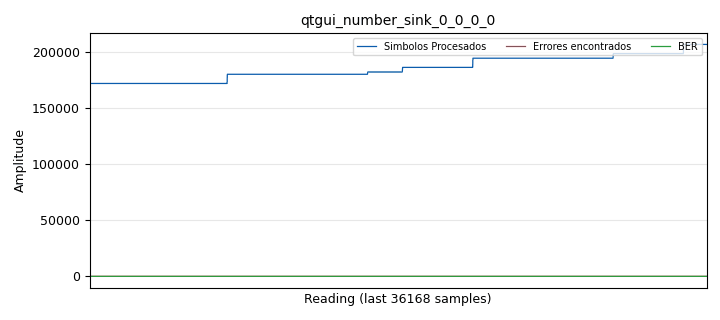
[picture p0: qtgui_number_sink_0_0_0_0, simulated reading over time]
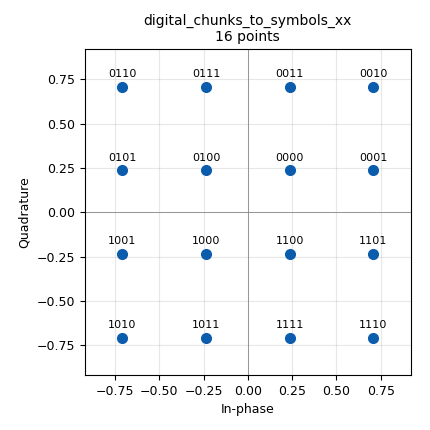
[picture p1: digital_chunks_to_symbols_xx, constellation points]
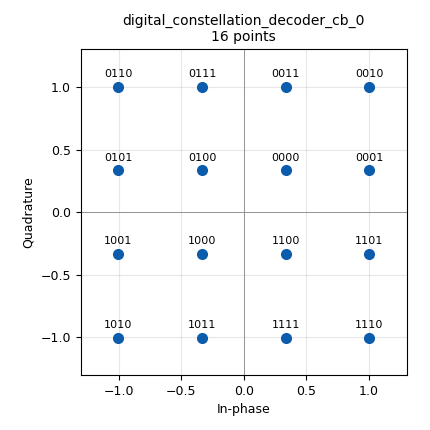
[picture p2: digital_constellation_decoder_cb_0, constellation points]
options:
  parameters:
    author: Homero Ortega Boada
    category: Custom
    description: dale un valor a Eb/No, corre el flujograma y obten la SER. Puedes sacar tantos valores como para construir una curva de SER
    generate_options: qt_gui
    id: ser_simulation
    output_language: python
    run: run_stop
    title: SER Simulation
  states: {}

blocks:
- name: Bps
  id: variable
  parameters:
    value: int(math.log(M,2))
  states: {}
- name: EbN0
  id: variable
  parameters:
    value: '28'
  states: {}
- name: M
  id: variable
  parameters:
    value: int(len(const))
  states: {}
- name: MaxCount
  id: variable
  parameters:
    value: int(1e7)
  states: {}
- name: MaxErrors
  id: variable
  parameters:
    value: 1e3
  states: {}
- name: MiconstellationObject
  id: variable_constellation
  parameters:
    const_points: const
    dims: '1'
    normalization: digital.constellation.AMPLITUDE_NORMALIZATION
    precision: '8'
    rot_sym: '4'
    sym_map: mapa
    type: calcdist
  states: {}
- name: Rb
  id: variable
  parameters:
    value: Rs*Bps
  states: {state: disabled}
- name: Rs
  id: variable
  parameters:
    value: samp_rate/Sps
  states: {state: disabled}
- name: Sps
  id: variable
  parameters:
    value: '16'
  states: {state: disabled}
- name: const
  id: variable
  parameters:
    value: (digital.constellation_bpsk(), digital.constellation_qpsk(), digital.constellation_8psk(), digital.qam.qam_constellation(16))
  states: {state: disabled}
- name: const
  id: variable
  parameters:
    value: '[(1.+0.j),(0.+1.j),(-1.+0.j),(0.-1.j)]'
  states: {state: disabled}
- name: const
  id: variable
  parameters:
    value: '[(1+1.j)/4.24,(3+1.j)/4.24,(3+3.j)/4.24,(1+3.j)/4.24,(-1+1.j)/4.24,(-3+1.j)/4.24,(-3+3.j)/4.24,(-1+3.j)/4.24,(-1-1.j)/4.24,(-3-1.j)/4.24,(-3-3.j)/4.24,(-1-3.j)/4.24,(1-1.j)/4.24,(3-1.j)/4.24,(3-3.j)/4.24,(1-3.j)/4.24]'
  states: {}
- name: const
  id: variable
  parameters:
    value: '[(1.+0.j),(0.7071+0.7071j),(0.+1.j),(-0.7071+0.7071j),(-1.+0.j),(-0.7071-0.7071j),(0.-1.j),(0.7071-0.7071j)]'
  states: {state: disabled}
- name: mapa
  id: variable
  parameters:
    value: np.arange(M)
  states: {}
- name: run_stop
  id: variable_qtgui_check_box
  parameters:
    'false': 'False'
    gui_hint: 0,0,1,1
    label: Inicial/Parar
    'true': 'True'
    type: int
    value: 'True'
  states: {}
- name: samp_rate
  id: variable
  parameters:
    value: 100e3
  states: {}
- name: BER
  id: epy_block
  parameters:
    Errors_max: MaxErrors
    Sym_max: MaxCount
    _source_code: |
      import numpy as np
      from gnuradio import gr

      ###########################################################################
      ##       lo de arriba era puro encabezado. Aqui comienza la clase        ##
      ###########################################################################
      class mi_bloque_embebido(gr.sync_block):

          """
      Este es el codigo embebido del bloque e_Symbol Rate
      Hecho por: Homero Ortega Boada
      Profesor de la Universidad Industrial de Santander

      Funcionalidad:
      Las entradas: son dos, para la senal transmitida y la recibida.

      Salidas: 
      out0: Entrega el numero de simbolos tenidos en cuenta
      out1: Entrega el numero de errores identificado
      out2: Entrega la SER (Symbol Error Ratio).
        
      Es importante tener en cuenta que: 
      - si en vez de tener simbolos a la entrada, se tienen bits, entonces lo que se calcula es la BER (Bit Error Ratio)

      Parametros usados:
      Nbmax: es el maximo numero de bits transmitidos a tener en cuenta para el calculo. Este numero depende de la resolucion que se pretenda alcanzar en la medicion. Si por ejemplo tu deseas que la BER llegue a valores tan pequenos como 1e-6, entonces debera elegir Nbmax=1e+6
      Error Max: Es el numero maximo de errores a tener en cuenta. Este numero depende del grado de exactitud que se desee lograr, del grado de estabilidad que alcanza el calculo de la BER o la SER. Un buen valor puede ser Errors=100 o mas. La idea es que el sistema dejara de realizar calculos cuando el contador de simbolos procesados alcanza Nbmax o cuando el contador de simbolos erroneos alcanza Error_max
      """

          def __init__(self, Sym_max=1e6,Errors_max=1e4):  # only default arguments here
              gr.sync_block.__init__(
                  self,
                  name='e_Symbol Rate',
                  in_sig=[np.int8,np.int8],
                  out_sig=[np.float32,np.float32,np.float32]
              )
              self.Sym_max = Sym_max
              self.Errors_max=Errors_max
              self.errores = 0.
              self.count=0.
              self.BER=1.

          ###########################################################################
          ##  lo de arriba era puro iniciacion. Aqui comienza el verdadero codigo  ##
          ###########################################################################
          def work(self, input_items, output_items):
              in0=input_items[0]
              in1=input_items[1]
              out0=output_items[0]
              out1=output_items[1]
              out2=output_items[2]
              if self.errores<self.Errors_max:
                  if self.count < self.Sym_max:
                      self.count += len(in0)
                      self.errores += np.count_nonzero(in0-in1)
                      self.BER=self.errores/self.count
              out2[:]=self.BER
              out1[:]=self.errores
              out0[:]=self.count
              return len(output_items[0])
  states: {}
- name: analog_noise_source_x
  id: analog_noise_source_x
  parameters:
    amp: 1.0 / math.sqrt(2.0 * Bps * 10**(EbN0/10.))
    noise_type: analog.GR_GAUSSIAN
    seed: '42'
    type: complex
  states: {}
- name: analog_random_source_x
  id: analog_random_source_x
  parameters:
    max: M
    min: '0'
    num_samps: '10000000'
    repeat: 'True'
    type: byte
  states: {}
- name: blocks_add_xx
  id: blocks_add_xx
  parameters:
    type: complex
  states: {}
- name: blocks_throttle
  id: blocks_throttle
  parameters:
    samples_per_second: samp_rate
    type: byte
  states: {}
- name: digital_chunks_to_symbols_xx
  id: digital_chunks_to_symbols_xx
  parameters:
    dimension: '1'
    in_type: byte
    out_type: complex
    symbol_table: const
  states: {}
- name: digital_constellation_decoder_cb_0
  id: digital_constellation_decoder_cb
  parameters:
    constellation: MiconstellationObject
  states: {}
- name: import
  id: import
  parameters:
    imports: import math
  states: {}
- name: import_0
  id: import
  parameters:
    imports: import numpy as np
  states: {}
- name: qtgui_const_sink_x_0
  id: qtgui_const_sink_x
  parameters:
    alpha1: '0.6'
    gui_hint: 1,2,1,1
    label1: Rx
    label2: Tx
    name: '"Constelacion"'
    nconnections: '2'
    size: '1024'
    type: complex
  states: {state: disabled}
- name: qtgui_number_sink_0_0_0_0
  id: qtgui_number_sink
  parameters:
    autoscale: 'True'
    color2: ("blue", "red")
    color3: ("black", "white")
    graph_type: qtgui.NUM_GRAPH_VERT
    gui_hint: 1,0,1,1
    label1: Simbolos Procesados
    label2: Errores encontrados
    label3: BER
    max: MaxCount
    min: '0'
    nconnections: '3'
    type: float
  states: {}
- name: vs6
  id: virtual_source
  parameters:
    stream_id: RX2
  states: {state: disabled}
- name: vs6_0
  id: virtual_source
  parameters:
    stream_id: TX2
  states: {state: disabled}

connections:
- [BER, '0', qtgui_number_sink_0_0_0_0, '0']
- [BER, '1', qtgui_number_sink_0_0_0_0, '1']
- [BER, '2', qtgui_number_sink_0_0_0_0, '2']
- [analog_noise_source_x, '0', blocks_add_xx, '1']
- [analog_random_source_x, '0', blocks_throttle, '0']
- [blocks_add_xx, '0', digital_constellation_decoder_cb_0, '0']
- [blocks_throttle, '0', BER, '1']
- [blocks_throttle, '0', digital_chunks_to_symbols_xx, '0']
- [digital_chunks_to_symbols_xx, '0', blocks_add_xx, '0']
- [digital_constellation_decoder_cb_0, '0', BER, '0']
- [vs6, '0', qtgui_const_sink_x_0, '0']
- [vs6_0, '0', qtgui_const_sink_x_0, '1']

metadata:
  file_format: 1
